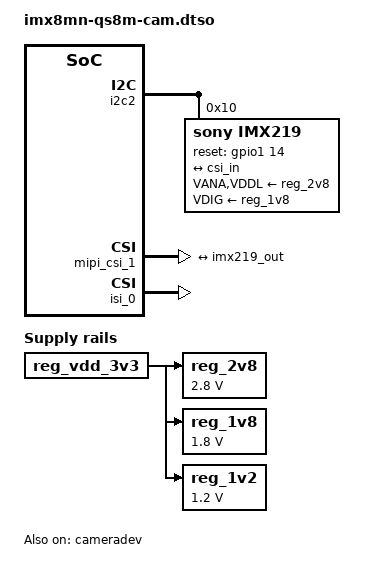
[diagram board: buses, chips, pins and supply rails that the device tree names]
// SPDX-License-Identifier: (GPL-2.0 OR MIT)
/*
 * Copyright 2023 Markus Bauer <MB@KARO-electronics.de>
 *
 */

/dts-v1/;

/plugin/;

#include <dt-bindings/clock/imx8mn-clock.h>
#include <dt-bindings/gpio/gpio.h>
#include "imx8mn-pinfunc.h"

&{/} {
	reg_2v8: regulator-2v8 {
		compatible = "regulator-fixed";
		regulator-name = "2V8";
		regulator-min-microvolt = <2800000>;
		regulator-max-microvolt = <2800000>;
		regulator-always-on;
		vin-supply = <&reg_vdd_3v3>;
	};

	reg_1v8: regulator-1v8 {
		compatible = "regulator-fixed";
		regulator-name = "1V8";
		regulator-min-microvolt = <1800000>;
		regulator-max-microvolt = <1800000>;
		regulator-always-on;
		vin-supply = <&reg_vdd_3v3>;
	};

	reg_1v2: regulator-1v2 {
		compatible = "regulator-fixed";
		regulator-name = "1V2";
		regulator-min-microvolt = <1200000>;
		regulator-max-microvolt = <1200000>;
		regulator-always-on;
		vin-supply = <&reg_vdd_3v3>;
	};
};

&{/chosen} {
	overlays {
		qs8m-cam;
	};
};

&i2c2 {
	#address-cells = <1>;
	#size-cells = <0>;

	imx219: sensor@10 {
		compatible = "sony,imx219";
		reg = <0x10>;
		pinctrl-names = "default";
		pinctrl-0 = <&pinctrl_imx219_reset>;
		reset-gpios = <&gpio1 14 GPIO_ACTIVE_HIGH>;
		clocks = <&clk IMX8MN_CLK_CLKO1>;
		clock-names = "xclk";
		assigned-clocks = <&clk IMX8MN_CLK_CLKO1>;
		assigned-clock-parents = <&clk IMX8MN_CLK_24M>;
		assigned-clock-rates = <24000000>;
		csi_id = <0>;
		VANA-supply = <&reg_2v8>;   /* 2.8v */
		VDIG-supply = <&reg_1v8>;   /* 1.8v */
		VDDL-supply = <&reg_2v8>;   /* 1.2v */
		mclk = <24000000>;
		mclk_source = <0>;
		mipi_csi;
		status = "okay";

		port {
			imx219_out: endpoint {
				remote-endpoint = <&csi_in>;
				data-lanes = <1 2>;
				clock-noncontinuous;
				link-frequencies = /bits/ 64 <456000000>;
			};
		};
	};
};

&mipi_csi_1 {
	#address-cells = <1>;
	#size-cells = <0>;
	status = "okay";

	port@0 {
		reg = <0>;
		csi_in: endpoint {
			remote-endpoint = <&imx219_out>;
			data-lanes = <2>;
			csis-hs-settle = <13>;
			csis-clk-settle = <2>;
			csis-wclk;
		};
	};
};

&isi_0 {
	status = "okay";

	cap_device {
		status = "okay";
	};
};

&cameradev {
	status = "okay";
};

&iomuxc {
	pinctrl_imx219_reset: imx219-resetgrp {
		fsl,pins = <
			MX8MN_IOMUXC_GPIO1_IO14_GPIO1_IO14		0x06
		>;
	};
};
